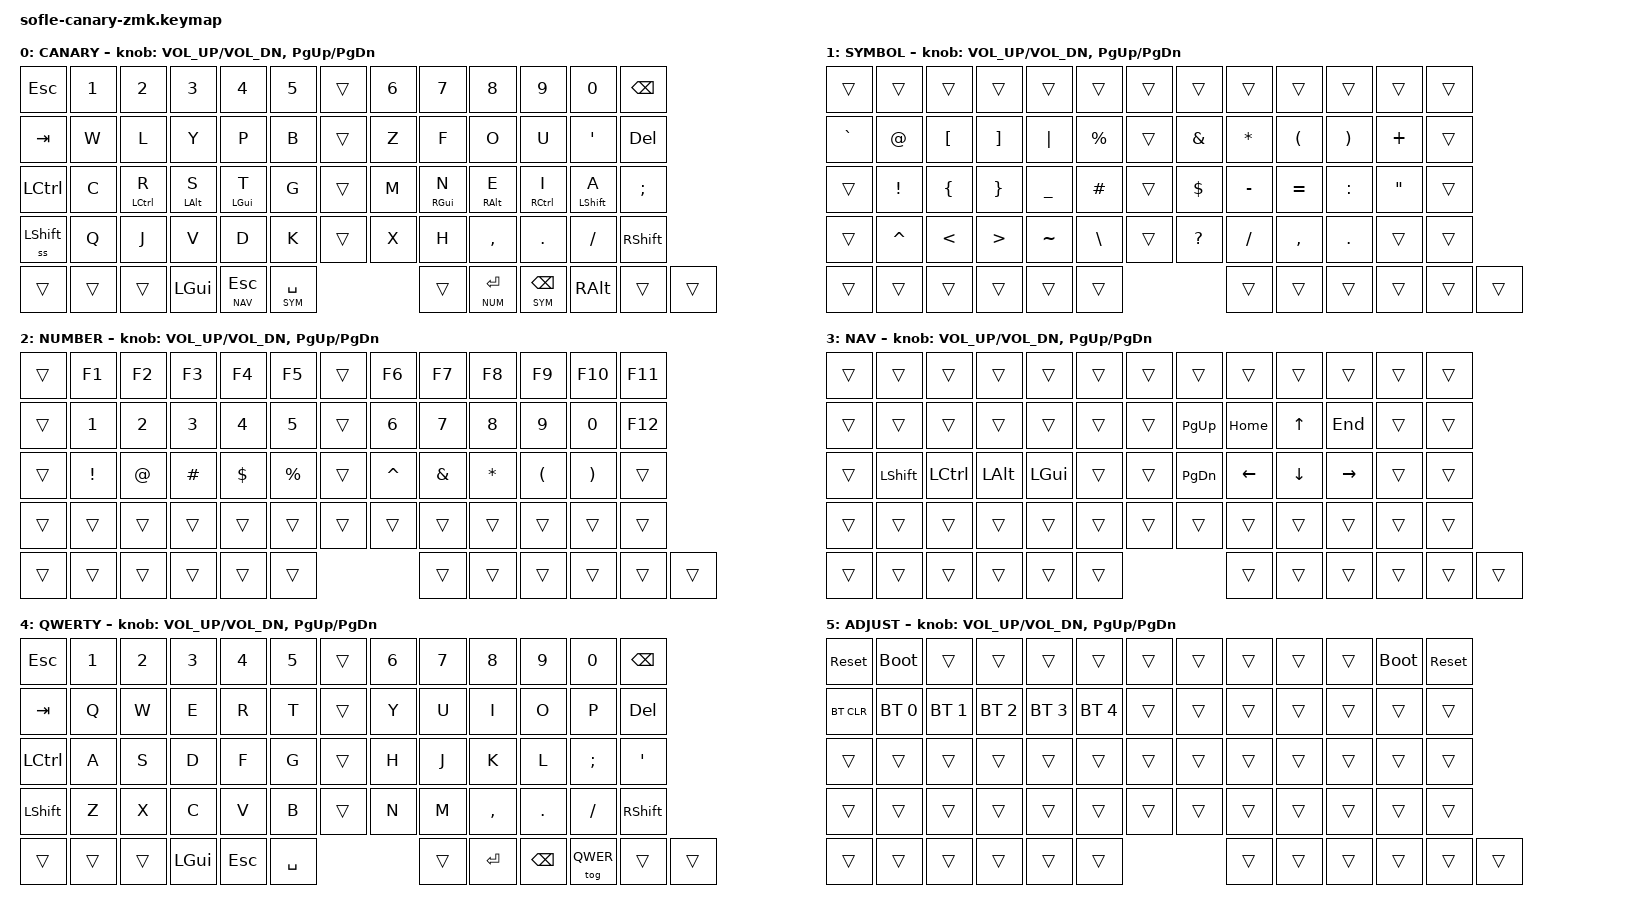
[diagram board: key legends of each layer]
/*
 * Canary Layout for Sofle Keyboard with ZMK
 *
 * Features:
 * - Canary base layout with home row mods
 * - Dedicated programming symbol layer
 * - QWERTY layer for Chinese pinyin input
 * - German umlaut combos
 * - Advanced "timeless" home row mod configuration
 */

#include <input/processors.dtsi>
#include <behaviors.dtsi>
#include <dt-bindings/zmk/keys.h>
#include <dt-bindings/zmk/bt.h>
#include <dt-bindings/zmk/ext_power.h>
#include <dt-bindings/zmk/outputs.h>
#include <dt-bindings/zmk/pointing.h>
#include <dt-bindings/zmk/rgb.h>
#include <zephyr/dt-bindings/input/input-event-codes.h>

// Layer definitions
#define BASE 0
#define SYM  1
#define NUM  2
#define NAV  3
#define QWER 4
#define ADJ  5

// Home row mod definitions
#define HRM_A &hml LSHFT A
#define HRM_R &hml LCTRL R
#define HRM_S &hml LALT S
#define HRM_T &hml LGUI T
#define HRM_N &hmr RGUI N
#define HRM_E &hmr RALT E
#define HRM_I &hmr RCTRL I
#define HRM_O &hmr RSHFT O

/ {
    zip_xy_scaler: zip_xy_scaler {
        compatible = "zmk,input-processor-scaler";
        #input-processor-cells = <2>;
        type = <INPUT_EV_REL>;
        codes = <INPUT_REL_X INPUT_REL_Y>;
        track-remainders;
    };

    behaviors {
        // Timeless home row mods - left hand
        // hold-trigger = all right-side keys (col 7-13, rows 0-3) + right thumbs
        hml: home_row_mod_left {
            compatible = "zmk,behavior-hold-tap";
            #binding-cells = <2>;
            bindings = <&kp>, <&kp>;
            flavor = "balanced";
            tapping-term-ms = <280>;
            quick-tap-ms = <175>;
            require-prior-idle-ms = <150>;
            hold-trigger-key-positions = <6 7 8 9 10 11 12 19 20 21 22 23 24 25 32 33 34 35 36 37 38 42 43 44 46 47 48 49 50 51 55 56 57 59 60 61 62 63>;
            hold-trigger-on-release;
        };

        // Timeless home row mods - right hand
        // hold-trigger = all left-side keys (col 0-5, rows 0-3) + left thumbs
        hmr: home_row_mod_right {
            compatible = "zmk,behavior-hold-tap";
            #binding-cells = <2>;
            bindings = <&kp>, <&kp>;
            flavor = "balanced";
            tapping-term-ms = <280>;
            quick-tap-ms = <175>;
            require-prior-idle-ms = <150>;
            hold-trigger-key-positions = <0 1 2 3 4 5 13 14 15 16 17 18 26 27 28 29 30 31 39 40 41 42 43 44 46 47 48 49 50 51 55 56 57 59 60 61 62 63>;
            hold-trigger-on-release;
        };

        // Layer tap for thumb keys
        lt: layer_tap {
            compatible = "zmk,behavior-hold-tap";
            #binding-cells = <2>;
            bindings = <&mo>, <&kp>;
            tapping-term-ms = <200>;
            quick-tap-ms = <150>;
            flavor = "tap-preferred";
        };

        // Sticky shift for capitalization
        ss: sticky_shift {
            compatible = "zmk,behavior-sticky-key";
            #binding-cells = <1>;
            bindings = <&kp>;
            release-after-ms = <1000>;
            quick-release;
        };
    };

    // German umlaut combos
    // Key positions updated for 64-key eyelash_sofle layout (row inserts shift positions)
    combos {
        compatible = "zmk,combos";

        combo_ae {
            timeout-ms = <50>;
            key-positions = <14 21>; // W + F
            bindings = <&de_ae>;
        };

        combo_oe {
            timeout-ms = <50>;
            key-positions = <24 21>; // SQT + F
            bindings = <&de_oe>;
        };

        combo_ue {
            timeout-ms = <50>;
            key-positions = <10 21>; // N9 + F
            bindings = <&de_ue>;
        };

        combo_ss {
            timeout-ms = <50>;
            key-positions = <16 29>; // Y + S
            bindings = <&de_ss>;
        };

        // Quick QWERTY toggle for Chinese
        combo_qwerty {
            timeout-ms = <100>;
            key-positions = <60 61>; // Both inner thumb keys (lt SYM BSPC + RALT)
            bindings = <&tog QWER>;
        };
    };

    // Macros for German characters
    macros {
        de_ae: de_ae {
            compatible = "zmk,behavior-macro";
            #binding-cells = <0>;
            bindings = <&kp RALT>, <&kp A>;
        };

        de_oe: de_oe {
            compatible = "zmk,behavior-macro";
            #binding-cells = <0>;
            bindings = <&kp RALT>, <&kp O>;
        };

        de_ue: de_ue {
            compatible = "zmk,behavior-macro";
            #binding-cells = <0>;
            bindings = <&kp RALT>, <&kp U>;
        };

        de_ss: de_ss {
            compatible = "zmk,behavior-macro";
            #binding-cells = <0>;
            bindings = <&kp RALT>, <&kp S>;
        };
    };

    keymap {
        compatible = "zmk,keymap";

        // 64-key layout per row: 6 left | &trans (joystick dir) | 6 right
        // Thumb row: &trans &trans &trans | 3 left thumbs | &trans (joystick center) | 3 right thumbs | &trans &trans

        // Base layer - Canary layout with home row mods
        base_layer {
            display-name = "CANARY";
            bindings = <
// ╭────────┬────────┬────────┬────────┬────────┬────────╮  joy  ╭────────┬────────┬────────┬────────┬────────┬────────╮
    &kp ESC  &kp N1   &kp N2   &kp N3   &kp N4   &kp N5   &trans   &kp N6   &kp N7   &kp N8   &kp N9   &kp N0   &kp BSPC
// ├────────┼────────┼────────┼────────┼────────┼────────┤       ├────────┼────────┼────────┼────────┼────────┼────────┤
    &kp TAB  &kp W    &kp L    &kp Y    &kp P    &kp B    &trans   &kp Z    &kp F    &kp O    &kp U    &kp SQT  &kp DEL
// ├────────┼────────┼────────┼────────┼────────┼────────┤       ├────────┼────────┼────────┼────────┼────────┼────────┤
    &kp LCTRL &kp C   HRM_R    HRM_S    HRM_T    &kp G    &trans   &kp M    HRM_N    HRM_E    HRM_I    HRM_A    &kp SEMI
// ├────────┼────────┼────────┼────────┼────────┼────────┤       ├────────┼────────┼────────┼────────┼────────┼────────┤
    &ss LSHFT &kp Q   &kp J    &kp V    &kp D    &kp K    &trans   &kp X    &kp H    &kp COMMA &kp DOT &kp FSLH &kp RSHFT
// ╰──────────────────────╮                ╭────────┬────────┬────────╮  joy  ╭────────┬────────┬────────╮
    &trans   &trans   &trans   &kp LGUI &lt NAV ESC &lt SYM SPACE &trans &lt NUM ENTER &lt SYM BSPC &kp RALT &trans &trans
//                         ╰────────────────────────╯       ╰────────────────────────╯
            >;
            sensor-bindings = <&inc_dec_kp C_VOL_UP C_VOL_DN &inc_dec_kp PG_UP PG_DN>;
        };

        // Symbol layer - optimized for programming
        symbol_layer {
            display-name = "SYMBOL";
            bindings = <
    &trans    &trans    &trans    &trans    &trans    &trans    &trans   &trans    &trans    &trans    &trans    &trans    &trans
    &kp GRAVE &kp AT    &kp LBKT  &kp RBKT  &kp PIPE  &kp PRCNT &trans   &kp AMPS  &kp STAR  &kp LPAR  &kp RPAR  &kp PLUS  &trans
    &trans    &kp EXCL  &kp LBRC  &kp RBRC  &kp UNDER &kp HASH  &trans   &kp DLLR  &kp MINUS &kp EQUAL &kp COLON &kp DQT   &trans
    &trans    &kp CARET &kp LT    &kp GT    &kp TILDE &kp BSLH  &trans   &kp QMARK &kp FSLH  &kp COMMA &kp DOT   &trans    &trans
    &trans    &trans    &trans    &trans    &trans    &trans    &trans   &trans    &trans    &trans    &trans    &trans
            >;
            sensor-bindings = <&inc_dec_kp C_VOL_UP C_VOL_DN &inc_dec_kp PG_UP PG_DN>;
        };

        // Number/Function layer
        number_layer {
            display-name = "NUMBER";
            bindings = <
    &trans   &kp F1   &kp F2   &kp F3   &kp F4   &kp F5   &trans   &kp F6   &kp F7   &kp F8   &kp F9   &kp F10  &kp F11
    &trans   &kp N1   &kp N2   &kp N3   &kp N4   &kp N5   &trans   &kp N6   &kp N7   &kp N8   &kp N9   &kp N0   &kp F12
    &trans   &kp EXCL &kp AT   &kp HASH &kp DLLR &kp PRCNT &trans  &kp CARET &kp AMPS &kp STAR &kp LPAR &kp RPAR &trans
    &trans   &trans   &trans   &trans   &trans   &trans   &trans   &trans   &trans   &trans   &trans   &trans   &trans
    &trans   &trans   &trans   &trans   &trans   &trans   &trans   &trans   &trans   &trans   &trans   &trans
            >;
            sensor-bindings = <&inc_dec_kp C_VOL_UP C_VOL_DN &inc_dec_kp PG_UP PG_DN>;
        };

        // Navigation layer
        navigation_layer {
            display-name = "NAV";
            bindings = <
    &trans   &trans    &trans    &trans   &trans   &trans   &trans   &trans    &trans   &trans    &trans   &trans   &trans
    &trans   &trans    &trans    &trans   &trans   &trans   &trans   &kp PG_UP &kp HOME &kp UP    &kp END  &trans   &trans
    &trans   &kp LSHFT &kp LCTRL &kp LALT &kp LGUI &trans  &trans   &kp PG_DN &kp LEFT &kp DOWN  &kp RIGHT &trans  &trans
    &trans   &trans    &trans    &trans   &trans   &trans   &trans   &trans    &trans   &trans    &trans   &trans   &trans
    &trans   &trans    &trans    &trans   &trans   &trans   &trans   &trans    &trans   &trans    &trans   &trans
            >;
            sensor-bindings = <&inc_dec_kp C_VOL_UP C_VOL_DN &inc_dec_kp PG_UP PG_DN>;
        };

        // QWERTY layer for Chinese pinyin input
        qwerty_layer {
            display-name = "QWERTY";
            bindings = <
    &kp ESC   &kp N1   &kp N2   &kp N3   &kp N4   &kp N5   &trans   &kp N6   &kp N7   &kp N8    &kp N9   &kp N0    &kp BSPC
    &kp TAB   &kp Q    &kp W    &kp E    &kp R    &kp T    &trans   &kp Y    &kp U    &kp I     &kp O    &kp P     &kp DEL
    &kp LCTRL &kp A    &kp S    &kp D    &kp F    &kp G    &trans   &kp H    &kp J    &kp K     &kp L    &kp SEMI  &kp SQT
    &kp LSHFT &kp Z    &kp X    &kp C    &kp V    &kp B    &trans   &kp N    &kp M    &kp COMMA &kp DOT  &kp FSLH  &kp RSHFT
    &trans    &trans   &trans   &kp LGUI &kp ESC  &kp SPACE &trans  &kp ENTER &kp BSPC &tog QWER &trans  &trans
            >;
            sensor-bindings = <&inc_dec_kp C_VOL_UP C_VOL_DN &inc_dec_kp PG_UP PG_DN>;
        };

        // Adjust layer for keyboard settings
        adjust_layer {
            display-name = "ADJUST";
            bindings = <
    &sys_reset &bootloader &trans &trans        &trans        &trans        &trans &trans  &trans  &trans      &trans     &bootloader &sys_reset
    &bt BT_CLR &bt BT_SEL 0 &bt BT_SEL 1 &bt BT_SEL 2 &bt BT_SEL 3 &bt BT_SEL 4 &trans &trans &trans &trans &trans  &trans      &trans
    &trans     &trans      &trans &trans        &trans        &trans        &trans &trans  &trans  &trans      &trans     &trans      &trans
    &trans     &trans      &trans &trans        &trans        &trans        &trans &trans  &trans  &trans      &trans     &trans      &trans
    &trans     &trans      &trans &trans        &trans        &trans        &trans &trans  &trans  &trans      &trans     &trans
            >;
            sensor-bindings = <&inc_dec_kp C_VOL_UP C_VOL_DN &inc_dec_kp PG_UP PG_DN>;
        };
    };
};
